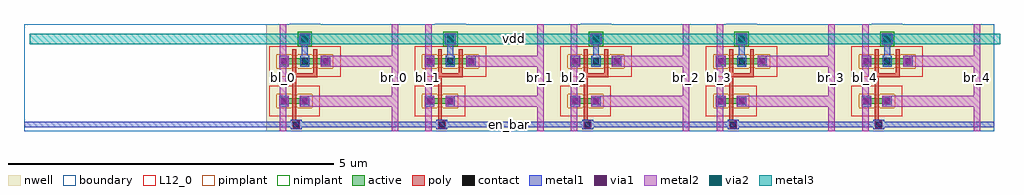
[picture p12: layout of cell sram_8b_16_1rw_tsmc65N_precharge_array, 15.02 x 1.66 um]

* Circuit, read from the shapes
.subckt sram_8b_16_1rw_tsmc65N_precharge_array bl_0 bl_1 bl_2 bl_3 bl_4 br_0 br_1 br_2 br_3 br_4 en_bar vdd
M1 br_0 en_bar bl_0 vdd pfet w=0.09u l=0.06u
M2 vdd en_bar bl_0 vdd pfet w=0.09u l=0.06u
M3 br_0 en_bar vdd vdd pfet w=0.09u l=0.06u
M4 br_1 en_bar bl_1 vdd pfet w=0.09u l=0.06u
M5 vdd en_bar bl_1 vdd pfet w=0.09u l=0.06u
M6 br_1 en_bar vdd vdd pfet w=0.09u l=0.06u
M7 br_2 en_bar bl_2 vdd pfet w=0.09u l=0.06u
M8 vdd en_bar bl_2 vdd pfet w=0.09u l=0.06u
M9 br_2 en_bar vdd vdd pfet w=0.09u l=0.06u
M10 br_3 en_bar bl_3 vdd pfet w=0.09u l=0.06u
M11 vdd en_bar bl_3 vdd pfet w=0.09u l=0.06u
M12 br_3 en_bar vdd vdd pfet w=0.09u l=0.06u
M13 br_4 en_bar bl_4 vdd pfet w=0.09u l=0.06u
M14 vdd en_bar bl_4 vdd pfet w=0.09u l=0.06u
M15 br_4 en_bar vdd vdd pfet w=0.09u l=0.06u
.ends

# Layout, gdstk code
import gdstk
lib = gdstk.Library(unit=1e-6, precision=1e-09)
def R(c, l, rs):  # rectangles x0, y0, x1, y1
    for r in rs: c.add(gdstk.rectangle(r[:2], r[2:], *l))
def A(c, l, x, y, w, h, nx, ny, dx, dy):  # array of equal rectangles
    R(c, l, [(x+i*dx, y+j*dy, x+i*dx+w, y+j*dy+h) for i in range(nx) for j in range(ny)])
nwell = (3, 0)
active = (6, 0)
L12_0 = (12, 0)
poly = (17, 0)
pimplant = (25, 0)
nimplant = (26, 0)
contact = (30, 0)
metal1 = (31, 0)
metal2 = (32, 0)
metal3 = (33, 0)
via1 = (51, 0)
via2 = (52, 0)
boundary = (108, 0)

sram_8b_16_1rw_tsmc65n_c = lib.new_cell('sram_8b_16_1rw_tsmc65N_contact_11')
R(sram_8b_16_1rw_tsmc65n_c, nwell, [(-0.165,-0.15,0.305,0.32)])
R(sram_8b_16_1rw_tsmc65n_c, active, [(0.01,0.025,0.13,0.145)])
R(sram_8b_16_1rw_tsmc65n_c, pimplant, [(-0.04,-0.025,0.18,0.195)])
R(sram_8b_16_1rw_tsmc65n_c, contact, [(0.025,0.04,0.115,0.13)])
R(sram_8b_16_1rw_tsmc65n_c, metal1, [(0,0,0.14,0.17)])
R(sram_8b_16_1rw_tsmc65n_c, boundary, [(-0.165,-0.15,0.305,0.32)])

sram_8b_16_1rw_tsmc65n_p = lib.new_cell('sram_8b_16_1rw_tsmc65N_pmos_m1_w0_091_sm1_dm1')
R(sram_8b_16_1rw_tsmc65n_p, nwell, [(-0.16,-0.19,0.62,0.28)])
R(sram_8b_16_1rw_tsmc65n_p, active, [(0,0,0.46,0.09)])
R(sram_8b_16_1rw_tsmc65n_p, L12_0, [(-0.16,-0.19,0.62,0.28)])
R(sram_8b_16_1rw_tsmc65n_p, poly, [(0.2,-0.14,0.26,0.23), (0.2,-0.14,0.26,0.23)])
R(sram_8b_16_1rw_tsmc65n_p, pimplant, [(-0.05,-0.05,0.51,0.14)])
R(sram_8b_16_1rw_tsmc65n_p, metal1, [(0,-0.04,0.14,0.13), (0.32,-0.04,0.46,0.13)])
R(sram_8b_16_1rw_tsmc65n_p, boundary, [(-0.16,-0.19,0.62,0.28)])
sram_8b_16_1rw_tsmc65n_p.add(gdstk.Reference(sram_8b_16_1rw_tsmc65n_c, (0,-0.04)))
sram_8b_16_1rw_tsmc65n_p.add(gdstk.Reference(sram_8b_16_1rw_tsmc65n_c, (0.32,-0.04)))
sram_8b_16_1rw_tsmc65n_p.add(gdstk.Label('G', (0.23,0.045), layer=17, texttype=0))
sram_8b_16_1rw_tsmc65n_p.add(gdstk.Label('S', (0.07,0.045), layer=31, texttype=0))
sram_8b_16_1rw_tsmc65n_p.add(gdstk.Label('D', (0.39,0.045), layer=31, texttype=0))

c_sram_8b_16_1rw_tsmc65n_c = lib.new_cell('sram_8b_16_1rw_tsmc65N_contact_14')
R(c_sram_8b_16_1rw_tsmc65n_c, poly, [(0.03,0.015,0.14,0.125)])
R(c_sram_8b_16_1rw_tsmc65n_c, contact, [(0.04,0.025,0.13,0.115)])
R(c_sram_8b_16_1rw_tsmc65n_c, metal1, [(0,0,0.17,0.14)])
R(c_sram_8b_16_1rw_tsmc65n_c, boundary, [(0,0,0.17,0.14)])

c_sram_8b_16_1rw_tsmc65n_c_ = lib.new_cell('sram_8b_16_1rw_tsmc65N_contact_22')
R(c_sram_8b_16_1rw_tsmc65n_c_, nwell, [(-0.15,-0.165,0.32,0.305)])
R(c_sram_8b_16_1rw_tsmc65n_c_, active, [(0.025,0.01,0.145,0.13)])
R(c_sram_8b_16_1rw_tsmc65n_c_, nimplant, [(-0.025,-0.04,0.195,0.18)])
R(c_sram_8b_16_1rw_tsmc65n_c_, contact, [(0.04,0.025,0.13,0.115)])
R(c_sram_8b_16_1rw_tsmc65n_c_, metal1, [(0,0,0.17,0.14)])
R(c_sram_8b_16_1rw_tsmc65n_c_, boundary, [(-0.15,-0.165,0.32,0.305)])

c_sram_8b_16_1rw_tsmc65n_c__ = lib.new_cell('sram_8b_16_1rw_tsmc65N_contact_17')
R(c_sram_8b_16_1rw_tsmc65n_c__, metal1, [(0,0.015,0.17,0.155)])
R(c_sram_8b_16_1rw_tsmc65n_c__, metal2, [(0.01,0,0.16,0.17)])
R(c_sram_8b_16_1rw_tsmc65n_c__, via1, [(0.04,0.04,0.13,0.13)])
R(c_sram_8b_16_1rw_tsmc65n_c__, boundary, [(0,0,0.17,0.17)])

c_sram_8b_16_1rw_tsmc65n_c___ = lib.new_cell('sram_8b_16_1rw_tsmc65N_contact_23')
R(c_sram_8b_16_1rw_tsmc65n_c___, metal1, [(0.005,0,0.145,0.17)])
R(c_sram_8b_16_1rw_tsmc65n_c___, metal2, [(0,0,0.15,0.17)])
R(c_sram_8b_16_1rw_tsmc65n_c___, via1, [(0.03,0.04,0.12,0.13)])
R(c_sram_8b_16_1rw_tsmc65n_c___, boundary, [(0,0,0.15,0.17)])

c_sram_8b_16_1rw_tsmc65n_p = lib.new_cell('sram_8b_16_1rw_tsmc65N_precharge_0')
R(c_sram_8b_16_1rw_tsmc65n_p, nwell, [(0,0,2.24,1.65)])
R(c_sram_8b_16_1rw_tsmc65n_p, poly, [(0.405,0.075,0.465,0.135), (0.435,0.075,0.465,0.135), (0.405,0.105,0.465,0.28), (0.405,0.65,0.465,0.89), (0.405,0.83,0.785,0.89)])
R(c_sram_8b_16_1rw_tsmc65n_p, metal1, [(0,0.06,2.24,0.15), (0.55,1.075,0.64,1.42), (0.55,1.375,0.64,1.465)])
R(c_sram_8b_16_1rw_tsmc65n_p, metal2, [(0.21,0,0.31,1.65), (0.21,0,0.31,1.65), (1.93,0,2.03,1.65), (1.93,0,2.03,1.65), (0.26,0.38,0.275,0.55), (0.595,0.38,1.98,0.55), (0.26,0.99,0.275,1.16), (0.915,0.99,1.98,1.16)])
R(c_sram_8b_16_1rw_tsmc65n_p, boundary, [(0,0,2.24,1.65)])
c_sram_8b_16_1rw_tsmc65n_p.add(gdstk.Reference(sram_8b_16_1rw_tsmc65n_p, (0.205,0.42)))
c_sram_8b_16_1rw_tsmc65n_p.add(gdstk.Reference(sram_8b_16_1rw_tsmc65n_p, (0.205,1.03)))
c_sram_8b_16_1rw_tsmc65n_p.add(gdstk.Reference(sram_8b_16_1rw_tsmc65n_p, (0.525,1.03)))
c_sram_8b_16_1rw_tsmc65n_p.add(gdstk.Reference(c_sram_8b_16_1rw_tsmc65n_c, (0.38,0.035)))
c_sram_8b_16_1rw_tsmc65n_p.add(gdstk.Reference(c_sram_8b_16_1rw_tsmc65n_c_, (0.51,1.35)))
c_sram_8b_16_1rw_tsmc65n_p.add(gdstk.Reference(c_sram_8b_16_1rw_tsmc65n_c__, (0.51,1.335)))
c_sram_8b_16_1rw_tsmc65n_p.add(gdstk.Reference(c_sram_8b_16_1rw_tsmc65n_c___, (0.2,0.38)))
c_sram_8b_16_1rw_tsmc65n_p.add(gdstk.Reference(c_sram_8b_16_1rw_tsmc65n_c___, (0.52,0.38)))
c_sram_8b_16_1rw_tsmc65n_p.add(gdstk.Reference(c_sram_8b_16_1rw_tsmc65n_c___, (0.2,0.99)))
c_sram_8b_16_1rw_tsmc65n_p.add(gdstk.Reference(c_sram_8b_16_1rw_tsmc65n_c___, (0.84,0.99)))
c_sram_8b_16_1rw_tsmc65n_p.add(gdstk.Label('en_bar', (1.12,0.105), layer=31, texttype=0))
c_sram_8b_16_1rw_tsmc65n_p.add(gdstk.Label('vdd', (0.595,1.42), layer=31, texttype=0))
c_sram_8b_16_1rw_tsmc65n_p.add(gdstk.Label('bl', (0.26,0.825), layer=32, texttype=0))
c_sram_8b_16_1rw_tsmc65n_p.add(gdstk.Label('br', (1.98,0.825), layer=32, texttype=0))

c_sram_8b_16_1rw_tsmc65n_c____ = lib.new_cell('sram_8b_16_1rw_tsmc65N_contact_18')
R(c_sram_8b_16_1rw_tsmc65n_c____, metal2, [(0.01,0,0.17,0.18)])
R(c_sram_8b_16_1rw_tsmc65n_c____, metal3, [(0,0.01,0.18,0.17)])
R(c_sram_8b_16_1rw_tsmc65n_c____, via2, [(0.04,0.04,0.14,0.14)])
R(c_sram_8b_16_1rw_tsmc65n_c____, boundary, [(0,0,0.18,0.18)])

c_sram_8b_16_1rw_tsmc65n_p_ = lib.new_cell('sram_8b_16_1rw_tsmc65N_precharge_array')
A(c_sram_8b_16_1rw_tsmc65n_p_, metal1, 4.275, 1.35, 0.09, 0.14, 5, 1, 2.24, 0)
R(c_sram_8b_16_1rw_tsmc65n_p_, metal1, [(0,0.06,14.925,0.15), (4.8,0.06,4.89,0.15), (4.8,0.06,4.89,0.15), (7.04,0.06,7.13,0.15), (7.04,0.06,7.13,0.15), (9.28,0.06,9.37,0.15), (9.28,0.06,9.37,0.15), (11.52,0.06,11.61,0.15), (11.52,0.06,11.61,0.15), (13.76,0.06,13.85,0.15), (13.76,0.06,13.85,0.15)])
A(c_sram_8b_16_1rw_tsmc65n_p_, metal2, 4.24, 1.37, 0.16, 0.1, 5, 1, 2.24, 0)
R(c_sram_8b_16_1rw_tsmc65n_p_, metal2, [(3.935,0,4.035,1.65), (5.655,0,5.755,1.65), (6.175,0,6.275,1.65), (7.895,0,7.995,1.65), (8.415,0,8.515,1.65), (10.135,0,10.235,1.65), (10.655,0,10.755,1.65), (12.375,0,12.475,1.65), (12.895,0,12.995,1.65), (14.615,0,14.715,1.65)])
R(c_sram_8b_16_1rw_tsmc65n_p_, metal3, [(0.09,1.34,15.015,1.5)])
R(c_sram_8b_16_1rw_tsmc65n_p_, boundary, [(0,0,14.925,1.65)])
c_sram_8b_16_1rw_tsmc65n_p_.add(gdstk.Reference(c_sram_8b_16_1rw_tsmc65n_p, (3.725,0)))
c_sram_8b_16_1rw_tsmc65n_p_.add(gdstk.Reference(c_sram_8b_16_1rw_tsmc65n_p, (5.965,0)))
c_sram_8b_16_1rw_tsmc65n_p_.add(gdstk.Reference(c_sram_8b_16_1rw_tsmc65n_p, (8.205,0)))
c_sram_8b_16_1rw_tsmc65n_p_.add(gdstk.Reference(c_sram_8b_16_1rw_tsmc65n_p, (10.445,0)))
c_sram_8b_16_1rw_tsmc65n_p_.add(gdstk.Reference(c_sram_8b_16_1rw_tsmc65n_p, (12.685,0)))
c_sram_8b_16_1rw_tsmc65n_p_.add(gdstk.Reference(c_sram_8b_16_1rw_tsmc65n_c__, (4.235,1.335)))
c_sram_8b_16_1rw_tsmc65n_p_.add(gdstk.Reference(c_sram_8b_16_1rw_tsmc65n_c____, (4.23,1.33)))
c_sram_8b_16_1rw_tsmc65n_p_.add(gdstk.Reference(c_sram_8b_16_1rw_tsmc65n_c__, (6.475,1.335)))
c_sram_8b_16_1rw_tsmc65n_p_.add(gdstk.Reference(c_sram_8b_16_1rw_tsmc65n_c____, (6.47,1.33)))
c_sram_8b_16_1rw_tsmc65n_p_.add(gdstk.Reference(c_sram_8b_16_1rw_tsmc65n_c__, (8.715,1.335)))
c_sram_8b_16_1rw_tsmc65n_p_.add(gdstk.Reference(c_sram_8b_16_1rw_tsmc65n_c____, (8.71,1.33)))
c_sram_8b_16_1rw_tsmc65n_p_.add(gdstk.Reference(c_sram_8b_16_1rw_tsmc65n_c__, (10.955,1.335)))
c_sram_8b_16_1rw_tsmc65n_p_.add(gdstk.Reference(c_sram_8b_16_1rw_tsmc65n_c____, (10.95,1.33)))
c_sram_8b_16_1rw_tsmc65n_p_.add(gdstk.Reference(c_sram_8b_16_1rw_tsmc65n_c__, (13.195,1.335)))
c_sram_8b_16_1rw_tsmc65n_p_.add(gdstk.Reference(c_sram_8b_16_1rw_tsmc65n_c____, (13.19,1.33)))
c_sram_8b_16_1rw_tsmc65n_p_.add(gdstk.Label('en_bar', (7.462,0.105), layer=31, texttype=0))
c_sram_8b_16_1rw_tsmc65n_p_.add(gdstk.Label('bl_0', (3.985,0.825), layer=32, texttype=0))
c_sram_8b_16_1rw_tsmc65n_p_.add(gdstk.Label('br_0', (5.705,0.825), layer=32, texttype=0))
c_sram_8b_16_1rw_tsmc65n_p_.add(gdstk.Label('bl_1', (6.225,0.825), layer=32, texttype=0))
c_sram_8b_16_1rw_tsmc65n_p_.add(gdstk.Label('br_1', (7.945,0.825), layer=32, texttype=0))
c_sram_8b_16_1rw_tsmc65n_p_.add(gdstk.Label('bl_2', (8.465,0.825), layer=32, texttype=0))
c_sram_8b_16_1rw_tsmc65n_p_.add(gdstk.Label('br_2', (10.185,0.825), layer=32, texttype=0))
c_sram_8b_16_1rw_tsmc65n_p_.add(gdstk.Label('bl_3', (10.705,0.825), layer=32, texttype=0))
c_sram_8b_16_1rw_tsmc65n_p_.add(gdstk.Label('br_3', (12.425,0.825), layer=32, texttype=0))
c_sram_8b_16_1rw_tsmc65n_p_.add(gdstk.Label('bl_4', (12.945,0.825), layer=32, texttype=0))
c_sram_8b_16_1rw_tsmc65n_p_.add(gdstk.Label('br_4', (14.665,0.825), layer=32, texttype=0))
c_sram_8b_16_1rw_tsmc65n_p_.add(gdstk.Label('vdd', (7.552,1.42), layer=33, texttype=0))

lib.write_gds('sram_8b_16_1rw_tsmc65N_precharge_array.gds')
